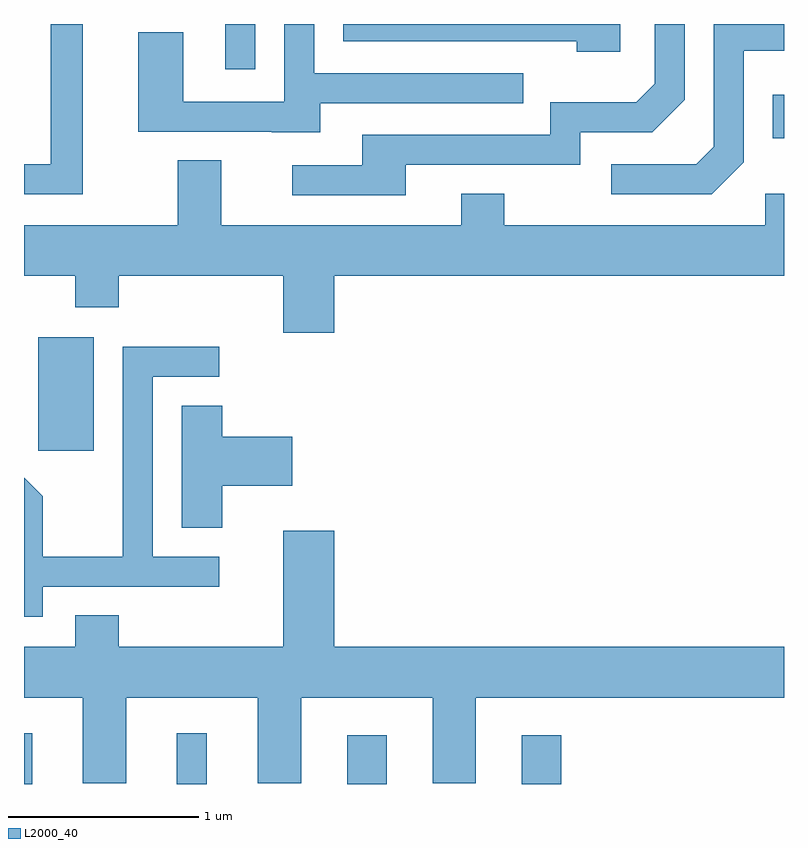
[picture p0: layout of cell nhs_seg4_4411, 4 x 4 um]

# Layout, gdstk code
import gdstk
lib = gdstk.Library(unit=1e-6, precision=1e-09)
def R(c, l, rs):  # rectangles x0, y0, x1, y1
    for r in rs: c.add(gdstk.rectangle(r[:2], r[2:], *l))
def P(c, l, *ps):  # polygons
    for p in ps: c.add(gdstk.Polygon(p, *l))
L2000_40 = (2000, 40)

nhs_seg4_4411 = lib.new_cell('nhs_seg4_4411')
R(nhs_seg4_4411, L2000_40, [(313.611,1371.982,313.654,1372.248), (314.416,1371.982,314.574,1372.248), (315.311,1371.982,315.519,1372.239), (316.231,1371.982,316.439,1372.239), (313.686,1373.736,313.979,1374.334), (317.551,1375.381,317.611,1375.609), (314.671,1375.743,314.829,1375.982)])
P(nhs_seg4_4411, L2000_40, [(313.919,1375.982),(313.751,1375.982),(313.751,1375.244),(313.611,1375.244),(313.611,1375.086),(313.919,1375.086)],
  [(317.399,1375.254),(317.399,1375.841),(317.611,1375.841),(317.611,1375.982),(317.241,1375.982),(317.241,1375.337),(317.149,1375.244),(316.703,1375.244),(316.703,1375.086),(317.232,1375.086)],
  [(316.749,1375.982),(315.291,1375.982),(315.291,1375.891),(316.521,1375.891),(316.521,1375.836),(316.749,1375.836)],
  [(315.619,1375.241),(316.539,1375.241),(316.539,1375.411),(316.917,1375.411),(317.089,1375.584),(317.089,1375.982),(316.931,1375.982),(316.931,1375.667),(316.834,1375.569),(316.381,1375.569),(316.381,1375.399),(315.391,1375.399),(315.391,1375.239),(315.023,1375.239),(315.023,1375.081),(315.619,1375.081)],
  [(315.169,1375.566),(316.238,1375.566),(316.238,1375.724),(315.139,1375.724),(315.139,1375.982),(314.981,1375.982),(314.981,1375.574),(314.449,1375.574),(314.449,1375.939),(314.211,1375.939),(314.211,1375.416),(314.915,1375.416),(314.915,1375.411),(315.169,1375.411)],
  [(315.244,1374.656),(317.611,1374.656),(317.611,1375.089),(317.511,1375.089),(317.511,1374.924),(316.139,1374.924),(316.139,1375.089),(315.911,1375.089),(315.911,1374.924),(314.649,1374.924),(314.649,1375.264),(314.421,1375.264),(314.421,1374.924),(313.611,1374.924),(313.611,1374.656),(313.881,1374.656),(313.881,1374.491),(314.109,1374.491),(314.109,1374.656),(314.976,1374.656),(314.976,1374.356),(315.244,1374.356)],
  [(313.709,1373.021),(314.638,1373.021),(314.638,1373.179),(314.289,1373.179),(314.289,1374.126),(314.638,1374.126),(314.638,1374.284),(314.131,1374.284),(314.131,1373.179),(313.709,1373.179),(313.709,1373.497),(313.611,1373.595),(313.611,1372.861),(313.709,1372.861)],
  [(314.654,1373.551),(315.024,1373.551),(315.024,1373.809),(314.654,1373.809),(314.654,1373.974),(314.441,1373.974),(314.441,1373.331),(314.654,1373.331)],
  [(314.149,1372.436),(314.841,1372.436),(314.841,1371.986),(315.069,1371.986),(315.069,1372.436),(315.761,1372.436),(315.761,1371.986),(315.989,1371.986),(315.989,1372.436),(317.611,1372.436),(317.611,1372.704),(315.244,1372.704),(315.244,1373.314),(314.976,1373.314),(314.976,1372.704),(314.109,1372.704),(314.109,1372.869),(313.881,1372.869),(313.881,1372.704),(313.611,1372.704),(313.611,1372.436),(313.921,1372.436),(313.921,1371.986),(314.149,1371.986)])

lib.write_gds('nhs_seg4_4411.gds')
